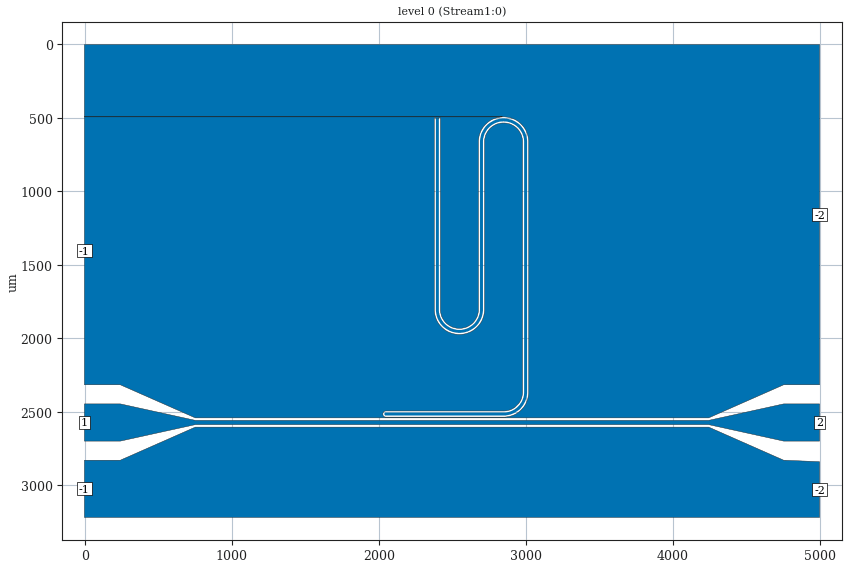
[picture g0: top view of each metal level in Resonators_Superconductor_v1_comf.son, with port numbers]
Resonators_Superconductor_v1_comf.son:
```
FTYP SONPROJ 12 ! Sonnet Project File
VER 14.52
HEADER
LIC Sonn.1.12345
DAT 05/14/2020 11:32:08
BUILT_BY_CREATED gds 14.52 05/14/2020 05:50:22
BUILT_BY_SAVED xgeom 14.52
MDATE 05/14/2020 11:32:08
HDATE 05/14/2020 11:32:08
END HEADER
DIM
FREQ GHZ
IND NH
LNG UM
ANG DEG
CON /OH
CAP PF
RES OH
END DIM
FREQ
SIMPLE 4.0
ABS 4.0 4.0 
END FREQ
CONTROL
ABS
OPTIONS  -dj 
SPEED 2
CACHE_ABS 1
TARG_ABS 300
Q_ACC N
END CONTROL
GEO
TMET "Free Space" 0 FREESPACE 376.7303136 0 0 0
BMET "Free Space" 0 FREESPACE 376.7303136 0 0 0
MET "NbN" 4 SUP 0 3.924e-26 0 6
BOX 1 4995.433076 3219.136711 2196 1228 20 0
      1000 1 1 0 0 0 0 "Air"
      500 11.9 1 1e-07 0 4.4e-08 0 "Silicon (intrinsic)"
TECHLAY METAL Stream1:0 <UNSPECIFIED> 1 0 
0 0 -1 N 0 1 1 100 100 0 0 0 Y
END
END
LORGN 0 3219.136711 U 
POR1 STD
POLY 12 1
0
1 50 0 0 0 -1.836259506 2572.051998 
POR1 STD
POLY 12 1
6
2 50 0 0 0 4997.16374 2572.051998 
POR1 STD
POLY 202 1
5
-2 50 0 0 0 4997.16374 3028.051998 
POR1 STD
POLY 202 1
7
-1 50 0 0 0 -1.836259506 3023.051998 
POR1 STD
POLY 229 1
2
-1 50 0 0 0 -1.836259506 1404.551998 
POR1 STD
POLY 229 1
187
-2 50 0 0 0 4997.16374 1159.051998 
NUM 4
0 13 -1 N 12 1 1 100 100 0 0 0 Y
TLAYNAM Stream1:0 NOH
-1.836259506 2698.551998
-1.836259506 2445.551998
242.1637405 2445.551998
752.1637405 2557.551998
4243.16374 2557.551998
4753.16374 2445.551998
4997.16374 2445.551998
4997.16374 2698.551998
4753.16374 2698.551998
4243.16374 2586.551998
752.1637405 2586.551998
242.1637405 2698.551998
-1.836259506 2698.551998
END
0 9 -1 N 202 1 1 100 100 0 0 0 Y
TLAYNAM Stream1:0 NOH
-1.836259506 2828.551998
242.1637405 2828.551998
752.1637405 2603.551998
4243.16374 2603.551998
4753.16374 2828.551998
4997.16374 2838.551998
4997.16374 3217.551998
-1.836259506 3217.551998
-1.836259506 2828.551998
END
0 192 -1 N 229 5 5 100 100 0 0 0 Y
TLAYNAM Stream1:0 NOH
752.1637405 2540.551998
242.1637405 2315.551998
-1.836259506 2315.551998
-1.836259506 493.5519981
2839.16374 493.5519981
2822.16374 495.5519981
2806.16374 498.5519981
2790.16374 503.5519981
2774.16374 509.5519981
2759.16374 517.5519981
2746.16374 526.5519981
2733.16374 537.5519981
2721.16374 549.5519981
2710.16374 562.5519981
2701.16374 575.5519981
2693.16374 590.5519981
2687.16374 606.5519981
2682.16374 622.5519981
2679.16374 638.5519981
2677.16374 655.5519981
2677.16374 1808.551998
2676.16374 1821.551998
2673.16374 1833.551998
2670.16374 1846.551998
2665.16374 1857.551998
2659.16374 1868.551998
2652.16374 1879.551998
2644.16374 1889.551998
2635.16374 1898.551998
2625.16374 1906.551998
2614.16374 1913.551998
2603.16374 1919.551998
2592.16374 1924.551998
2579.16374 1927.551998
2567.16374 1930.551998
2554.16374 1931.551998
2542.16374 1931.551998
2529.16374 1930.551998
2517.16374 1927.551998
2504.16374 1924.551998
2493.16374 1919.551998
2482.16374 1913.551998
2471.16374 1906.551998
2461.16374 1898.551998
2452.16374 1889.551998
2444.16374 1879.551998
2437.16374 1868.551998
2431.16374 1857.551998
2426.16374 1846.551998
2423.16374 1833.551998
2420.16374 1821.551998
2419.16374 1808.551998
2419.16374 500.5519981
2418.16374 499.5519981
2408.16374 499.5519981
2408.16374 508.5606856
2388.16374 508.5606856
2388.16374 499.5519981
2377.16374 499.5519981
2377.16374 1811.551998
2379.16374 1828.551998
2382.16374 1844.551998
2387.16374 1860.551998
2393.16374 1876.551998
2401.16374 1891.551998
2410.16374 1904.551998
2421.16374 1917.551998
2433.16374 1929.551998
2446.16374 1940.551998
2459.16374 1949.551998
2474.16374 1957.551998
2490.16374 1963.551998
2506.16374 1968.551998
2522.16374 1971.551998
2539.16374 1973.551998
2557.16374 1973.551998
2574.16374 1971.551998
2590.16374 1968.551998
2606.16374 1963.551998
2622.16374 1957.551998
2637.16374 1949.551998
2650.16374 1940.551998
2663.16374 1929.551998
2675.16374 1917.551998
2686.16374 1904.551998
2695.16374 1891.551998
2703.16374 1876.551998
2709.16374 1860.551998
2714.16374 1844.551998
2717.16374 1828.551998
2719.16374 1811.551998
2719.16374 658.5519981
2720.16374 645.5519981
2723.16374 633.5519981
2726.16374 620.5519981
2731.16374 609.5519981
2737.16374 598.5519981
2744.16374 587.5519981
2752.16374 577.5519981
2761.16374 568.5519981
2771.16374 560.5519981
2782.16374 553.5519981
2793.16374 547.5519981
2804.16374 542.5519981
2817.16374 539.5519981
2829.16374 536.5519981
2842.16374 535.5519981
2854.16374 535.5519981
2867.16374 536.5519981
2879.16374 539.5519981
2892.16374 542.5519981
2903.16374 547.5519981
2914.16374 553.5519981
2925.16374 560.5519981
2935.16374 568.5519981
2944.16374 577.5519981
2952.16374 587.5519981
2959.16374 598.5519981
2965.16374 609.5519981
2970.16374 620.5519981
2973.16374 633.5519981
2976.16374 645.5519981
2977.16374 658.5519981
2977.16374 2369.551998
2976.16374 2382.551998
2973.16374 2395.551998
2970.16374 2407.551998
2965.16374 2419.551998
2959.16374 2430.551998
2952.16374 2441.551998
2925.16374 2468.551998
2914.16374 2475.551998
2903.16374 2481.551998
2891.16374 2486.551998
2879.16374 2489.551998
2866.16374 2492.551998
2853.16374 2493.551998
2045.16374 2493.551998
2043.16374 2494.551998
2041.16374 2494.551998
2035.16374 2497.551998
2031.16374 2501.551998
2028.16374 2507.551998
2028.16374 2509.551998
2027.16374 2511.551998
2027.16374 2517.551998
2028.16374 2519.551998
2028.16374 2521.551998
2031.16374 2527.551998
2035.16374 2531.551998
2041.16374 2534.551998
2043.16374 2534.551998
2045.16374 2535.551998
2857.16374 2535.551998
2874.16374 2533.551998
2890.16374 2530.551998
2906.16374 2525.551998
2922.16374 2519.551998
2937.16374 2511.551998
2950.16374 2502.551998
2963.16374 2491.551998
2975.16374 2479.551998
2986.16374 2466.551998
2995.16374 2453.551998
3003.16374 2438.551998
3009.16374 2422.551998
3014.16374 2406.551998
3017.16374 2390.551998
3019.16374 2373.551998
3019.16374 655.5519981
3017.16374 638.5519981
3014.16374 622.5519981
3009.16374 606.5519981
3003.16374 590.5519981
2995.16374 575.5519981
2986.16374 562.5519981
2975.16374 549.5519981
2963.16374 537.5519981
2950.16374 526.5519981
2937.16374 517.5519981
2922.16374 509.5519981
2906.16374 503.5519981
2890.16374 498.5519981
2874.16374 495.5519981
2857.16374 493.5519981
-1.836259506 493.5519981
-1.836259506 2.551998091
4997.16374 2.551998091
4997.16374 2315.551998
4753.16374 2315.551998
4243.16374 2540.551998
752.1637405 2540.551998
END
0 175 -1 V 233 1 1 100 100 0 0 0 Y
TLAYNAM Stream1:0 NOH
2408.16374 1809.551998
2409.16374 1823.551998
2412.16374 1836.551998
2416.16374 1849.551998
2421.16374 1862.551998
2428.16374 1874.551998
2435.16374 1885.551998
2444.16374 1896.551998
2454.16374 1906.551998
2465.16374 1915.551998
2476.16374 1922.551998
2488.16374 1929.551998
2501.16374 1934.551998
2514.16374 1938.551998
2527.16374 1941.551998
2541.16374 1942.551998
2555.16374 1942.551998
2569.16374 1941.551998
2582.16374 1938.551998
2595.16374 1934.551998
2608.16374 1929.551998
2620.16374 1922.551998
2631.16374 1915.551998
2642.16374 1906.551998
2652.16374 1896.551998
2661.16374 1885.551998
2668.16374 1874.551998
2675.16374 1862.551998
2680.16374 1849.551998
2684.16374 1836.551998
2687.16374 1823.551998
2688.16374 1809.551998
2688.16374 656.5519981
2690.16374 640.5519981
2693.16374 625.5519981
2697.16374 610.5519981
2703.16374 596.5519981
2711.16374 582.5519981
2719.16374 569.5519981
2729.16374 556.5519981
2740.16374 545.5519981
2753.16374 535.5519981
2766.16374 527.5519981
2780.16374 519.5519981
2794.16374 513.5519981
2809.16374 509.5519981
2824.16374 506.5519981
2840.16374 504.5519981
2856.16374 504.5519981
2872.16374 506.5519981
2887.16374 509.5519981
2902.16374 513.5519981
2916.16374 519.5519981
2930.16374 527.5519981
2943.16374 535.5519981
2956.16374 545.5519981
2967.16374 556.5519981
2977.16374 569.5519981
2985.16374 582.5519981
2993.16374 596.5519981
2999.16374 610.5519981
3003.16374 625.5519981
3006.16374 640.5519981
3008.16374 656.5519981
3008.16374 2372.551998
3006.16374 2388.551998
3003.16374 2403.551998
2999.16374 2418.551998
2993.16374 2432.551998
2985.16374 2446.551998
2977.16374 2459.551998
2967.16374 2472.551998
2956.16374 2483.551998
2943.16374 2493.551998
2930.16374 2501.551998
2916.16374 2509.551998
2902.16374 2515.551998
2887.16374 2519.551998
2872.16374 2522.551998
2856.16374 2524.551998
2046.16374 2524.551998
2045.16374 2523.551998
2043.16374 2523.551998
2039.16374 2519.551998
2039.16374 2517.551998
2038.16374 2516.551998
2038.16374 2512.551998
2039.16374 2511.551998
2039.16374 2509.551998
2043.16374 2505.551998
2045.16374 2505.551998
2046.16374 2504.551998
2855.16374 2504.551998
2869.16374 2503.551998
2882.16374 2500.551998
2895.16374 2496.551998
2908.16374 2491.551998
2920.16374 2484.551998
2931.16374 2477.551998
2942.16374 2468.551998
2952.16374 2458.551998
2961.16374 2447.551998
2968.16374 2436.551998
2975.16374 2424.551998
2980.16374 2411.551998
2984.16374 2398.551998
2987.16374 2385.551998
2988.16374 2371.551998
2988.16374 657.5519981
2987.16374 643.5519981
2984.16374 630.5519981
2980.16374 617.5519981
2975.16374 604.5519981
2968.16374 592.5519981
2961.16374 581.5519981
2952.16374 570.5519981
2942.16374 560.5519981
2931.16374 551.5519981
2920.16374 544.5519981
2908.16374 537.5519981
2895.16374 532.5519981
2882.16374 528.5519981
2869.16374 525.5519981
2855.16374 524.5519981
2841.16374 524.5519981
2827.16374 525.5519981
2814.16374 528.5519981
2801.16374 532.5519981
2788.16374 537.5519981
2776.16374 544.5519981
2765.16374 551.5519981
2754.16374 560.5519981
2744.16374 570.5519981
2735.16374 581.5519981
2728.16374 592.5519981
2721.16374 604.5519981
2716.16374 617.5519981
2712.16374 630.5519981
2709.16374 643.5519981
2708.16374 657.5519981
2708.16374 1810.551998
2706.16374 1826.551998
2703.16374 1841.551998
2699.16374 1856.551998
2693.16374 1870.551998
2685.16374 1884.551998
2677.16374 1897.551998
2667.16374 1910.551998
2656.16374 1921.551998
2643.16374 1931.551998
2630.16374 1939.551998
2616.16374 1947.551998
2602.16374 1953.551998
2587.16374 1957.551998
2572.16374 1960.551998
2556.16374 1962.551998
2540.16374 1962.551998
2524.16374 1960.551998
2509.16374 1957.551998
2494.16374 1953.551998
2480.16374 1947.551998
2466.16374 1939.551998
2453.16374 1931.551998
2440.16374 1921.551998
2429.16374 1910.551998
2419.16374 1897.551998
2411.16374 1884.551998
2403.16374 1870.551998
2397.16374 1856.551998
2393.16374 1841.551998
2390.16374 1826.551998
2388.16374 1810.551998
2388.16374 508.5606856
2408.16374 508.5606856
2408.16374 1809.551998
END
END GEO
OPT
MAX 100
VARS
END
END OPT
VARSWP
END VARSWP
QSG
IMPORT YES
EXTRA_METAL NO
UNITS YES
ALIGN NO
REF NO
VIEW_RES NO
METALS NO
USED NO
END QSG
```
